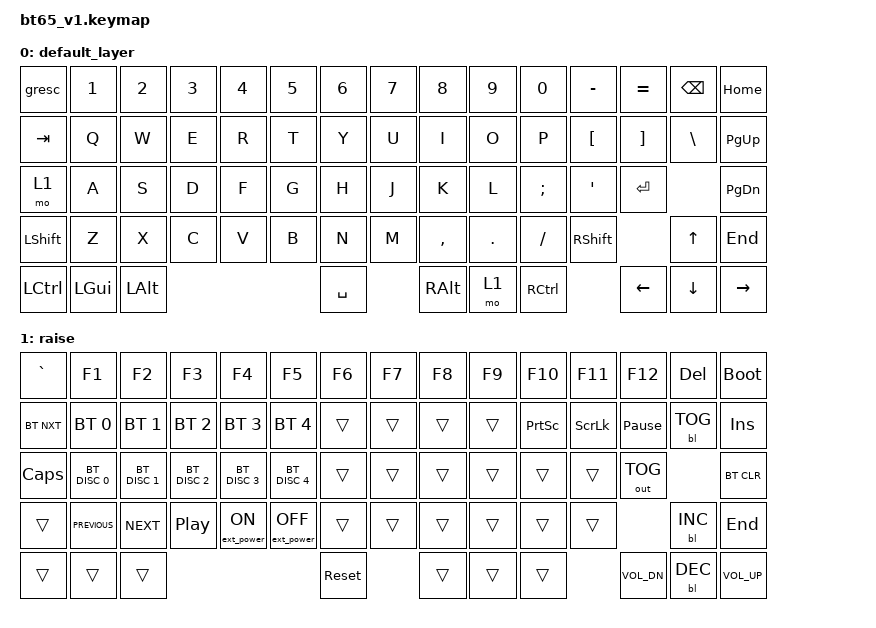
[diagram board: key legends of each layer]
#include <behaviors.dtsi>
#include <dt-bindings/zmk/backlight.h>
#include <dt-bindings/zmk/bt.h>
#include <dt-bindings/zmk/ext_power.h>
#include <dt-bindings/zmk/keys.h>
#include <dt-bindings/zmk/outputs.h>

#define ANSI

//#define ISO
//#define ALL_1U
//#define HHKB

&gresc {
    bindings = <&kp ESC>, <&kp TILDE>;
};

/ {
    chosen {
        #ifdef ANSI

        zmk,matrix-transform = &ansi_transform;

        #elif defined(ISO)

        zmk,matrix-transform = &iso_transform;

        #elif defined(ALL_1U)

        zmk,matrix-transform = &all_1u_transform;

        #elif defined(HHKB)

        zmk,matrix-transform = &hhkb_transform;

        #else
  #error "Layout not defined, please define a layout by uncommenting the appropriate line in bt65_v1.keymap"
  #endif
    };

    keymap {
        compatible = "zmk,keymap";

        #ifdef ANSI

        default_layer {
            // ------------------------------------------------------------------------------------------------
            // |gresc|  1  |  2  |  3  |  4  |  5  |  6  |  7  |  8  |  9  |  0  |  -  |  =  |   BKSP   | HOME|
            // | TAB   |  Q  |  W  |  E  |  R  |  T  |  Y  |  U  |  I  |  O  |  P  |  [  |  ]  |   \    | PGUP|
            // | CAPS   |  A  |  S  |  D  |  F  |  G  |  H  |  J  |  K  |  L  |  ;  |  '  |    ENTER    | PGDN|
            // |  SHIFT   |  Z  |  X  |  C  |  V  |  B  |  N  |  M  |  ,  |  .  |  /  |   SHIFT   | UP  | END |
            // |  CTL  |  WIN  |  ALT  |             SPACE                | ALT |  1  |RCTRL| LEFT| DOWN|RIGHT|
            // ------------------------------------------------------------------------------------------------

            bindings = <
&gresc     &kp N1    &kp N2    &kp N3  &kp N4  &kp N5  &kp N6     &kp N7  &kp N8     &kp N9   &kp N0     &kp MINUS  &kp EQUAL  &kp BACKSPACE  &kp HOME
&kp TAB    &kp Q     &kp W     &kp E   &kp R   &kp T   &kp Y      &kp U   &kp I      &kp O    &kp P      &kp LBKT   &kp RBKT   &kp BSLH       &kp PG_UP
&mo 1      &kp A     &kp S     &kp D   &kp F   &kp G   &kp H      &kp J   &kp K      &kp L    &kp SEMI   &kp SQT    &kp RET                   &kp PG_DN
&kp LSHFT  &kp Z     &kp X     &kp C   &kp V   &kp B   &kp N      &kp M   &kp COMMA  &kp DOT  &kp FSLH   &kp RSHFT             &kp UP         &kp END
&kp LCTRL  &kp LGUI  &kp LALT                          &kp SPACE          &kp RALT   &mo 1    &kp RCTRL             &kp LEFT   &kp DOWN       &kp RIGHT
            >;
        };

        raise {
            // --------------------------------------------------------------------------------------------------
            // |GRAVE| F1  | F2  | F3  | F4  | F5  | F6  | F7  | F8  | F9  | F10 | F11 | F12 |    DEL   |RGB_TOG|
            // | TAB  | BT 0 | BT 1 | BT 2 | BT 3 | HUD |  Y  |  U  |  I  |  O  |  P  | SLCK|    | BL_TOG | INS|
            // | CAPS  |  A  |  S  |  D  | BRI | BRD |  H  |  J  |  K  |  L  |  ;  |  '  |     BOOT      | P_BRK|
            // |  SHIFT   |VOLDN|VOLUP| MUTE|BLINC|BLDEC|  N  |  M  |  ,  |  .  |  /  |    SHIFT  | HOME |  END |
            // | BT_PRV| BT_NXT|  ALT  |            SPACE               | ALT |  1  | CTRL | LEFT | DOWN |BT_CLR|
            // --------------------------------------------------------------------------------------------------

            bindings = <
&kp GRAVE   &kp F1          &kp F2         &kp F3            &kp F4            &kp F5             &kp F6      &kp F7  &kp F8  &kp F9  &kp F10    &kp F11   &kp F12          &kp DEL     &bootloader
&bt BT_NXT  &bt BT_SEL 0    &bt BT_SEL 1   &bt BT_SEL 2      &bt BT_SEL 3      &bt BT_SEL 4       &trans      &trans  &trans  &trans  &kp PSCRN  &kp SLCK  &kp PAUSE_BREAK  &bl BL_TOG  &kp INS
&kp CAPS    &bt BT_DISC 0   &bt BT_DISC 1  &bt BT_DISC 2     &bt BT_DISC 3     &bt BT_DISC 4      &trans      &trans  &trans  &trans  &trans     &trans    &out OUT_TOG                 &bt BT_CLR
&trans      &kp C_PREVIOUS  &kp C_NEXT     &kp C_PLAY_PAUSE  &ext_power EP_ON  &ext_power EP_OFF  &trans      &trans  &trans  &trans  &trans     &trans                     &bl BL_INC  &kp END
&trans      &trans          &trans                                                                &sys_reset          &trans  &trans  &trans               &kp C_VOL_DN     &bl BL_DEC  &kp C_VOL_UP
            >;
        };

        #else
    #error "Layout not defined, please define a layout by uncommenting the appropriate line in bt65_v1.keymap"
    #endif
    };
};
